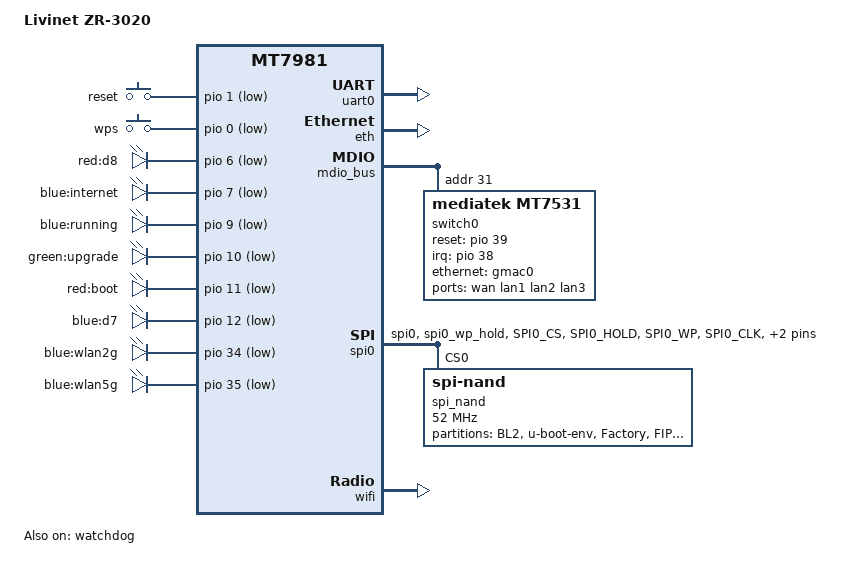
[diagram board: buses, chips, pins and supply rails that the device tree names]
// SPDX-License-Identifier: GPL-2.0-or-later OR MIT
/*
 * Copyright (C) 2023 Tianling Shen <cnsztl@immortalwrt.org>
 */

/dts-v1/;
#include "mt7981.dtsi"

/ {
	model = "Livinet ZR-3020";
	compatible = "livinet,zr-3020", "mediatek,mt7981";

	aliases {
		led-boot = &boot_led;
		led-failsafe = &boot_led;
		led-running = &running_led;
		led-upgrade = &upgrade_led;
		serial0 = &uart0;
	};

	chosen {
		stdout-path = "serial0:115200n8";
	};

	gpio-keys {
		compatible = "gpio-keys";

		button-reset {
			label = "reset";
			linux,code = <KEY_RESTART>;
			gpios = <&pio 1 GPIO_ACTIVE_LOW>;
		};

		button-wps {
			label = "wps";
			linux,code = <KEY_WPS_BUTTON>;
			gpios = <&pio 0 GPIO_ACTIVE_LOW>;
		};
	};

	gpio-leds {
		compatible = "gpio-leds";

		led-0 {
			label = "red:d8";
			gpios = <&pio 6 GPIO_ACTIVE_LOW>;
		};

		led-1 {
			label = "blue:internet";
			gpios = <&pio 7 GPIO_ACTIVE_LOW>;
		};

		running_led: led-2 {
			label = "blue:running";
			gpios = <&pio 9 GPIO_ACTIVE_LOW>;
		};

		upgrade_led: led-3 {
			label = "green:upgrade";
			gpios = <&pio 10 GPIO_ACTIVE_LOW>;
		};

		boot_led: led-4 {
			label = "red:boot";
			gpios = <&pio 11 GPIO_ACTIVE_LOW>;
		};

		led-6 {
			label = "blue:d7";
			gpios = <&pio 12 GPIO_ACTIVE_LOW>;
		};

		led-7 {
			label = "blue:wlan2g";
			gpios = <&pio 34 GPIO_ACTIVE_LOW>;
		};

		led-8 {
			label = "blue:wlan5g";
			gpios = <&pio 35 GPIO_ACTIVE_LOW>;
		};
	};
};

&uart0 {
	status = "okay";
};

&watchdog {
	status = "okay";
};

&eth {
	status = "okay";

	gmac0: mac@0 {
		compatible = "mediatek,eth-mac";
		reg = <0>;
		phy-mode = "2500base-x";

		nvmem-cells = <&macaddr_config_50707>;
		nvmem-cell-names = "mac-address-ascii";

		fixed-link {
			speed = <2500>;
			full-duplex;
			pause;
		};
	};
};

&mdio_bus {
	switch0: switch@0 {
		compatible = "mediatek,mt7531";
		reg = <31>;
		dsa,member = <0 0>;
		reset-gpios = <&pio 39 GPIO_ACTIVE_HIGH>;
		interrupt-controller;
		#interrupt-cells = <1>;
		interrupt-parent = <&pio>;
		interrupts = <38 IRQ_TYPE_LEVEL_HIGH>;
	};
};

&switch0 {
	ports {
		#address-cells = <1>;
		#size-cells = <0>;

		port@0 {
			reg = <0>;
			label = "wan";
		};

		port@2 {
			reg = <2>;
			label = "lan1";
		};

		port@3 {
			reg = <3>;
			label = "lan2";
		};

		port@4 {
			reg = <4>;
			label = "lan3";
		};

		port@6 {
			reg = <6>;
			ethernet = <&gmac0>;
			phy-mode = "2500base-x";

			fixed-link {
				speed = <2500>;
				full-duplex;
				pause;
			};
		};
	};
};

&spi0 {
	pinctrl-names = "default";
	pinctrl-0 = <&spi0_flash_pins>;
	status = "okay";

	spi_nand: flash@0 {
		#address-cells = <1>;
		#size-cells = <1>;
		compatible = "spi-nand";
		reg = <0>;

		spi-max-frequency = <52000000>;
		spi-tx-buswidth = <4>;
		spi-rx-buswidth = <4>;
		mediatek,nmbm;
		mediatek,bmt-max-ratio = <1>;
		mediatek,bmt-max-reserved-blocks = <64>;

		partitions {
			compatible = "fixed-partitions";
			#address-cells = <1>;
			#size-cells = <1>;

			partition@0 {
				label = "BL2";
				reg = <0x00000 0x100000>;
				read-only;
			};

			partition@100000 {
				label = "u-boot-env";
				reg = <0x100000 0x80000>;
			};

			factory: partition@180000 {
				label = "Factory";
				reg = <0x180000 0x200000>;
			};

			partition@380000 {
				label = "FIP";
				reg = <0x380000 0x200000>;
			};

			partition@580000 {
				label = "ubi";
				reg = <0x580000 0x4000000>;
			};

			partition@4580000 {
				label = "firmware_backup";
				reg = <0x4580000 0x2000000>;
			};

			partition@6580000 {
				label = "zrsave";
				reg = <0x6580000 0x100000>;
			};

			partition@6680000 {
				label = "config2";
				reg = <0x6680000 0x100000>;

				compatible = "nvmem-cells";
				#address-cells = <1>;
				#size-cells = <1>;

				macaddr_config_5068a: macaddr@5068a {
					reg = <0x5068a 0x11>;
				};

				macaddr_config_50707: macaddr@50707 {
					reg = <0x50707 0x11>;
				};
			};
		};
	};
};

&pio {
	i2c_pins: i2c-pins-g0 {
                mux {
                        function = "i2c";
                        groups = "i2c0_0";
                };
        };

        pcm_pins: pcm-pins-g0 {
                mux {
                        function = "pcm";
                        groups = "pcm";
                };
        };

	pwm0_pin: pwm0-pin-g0 {
		mux {
			function = "pwm";
			groups = "pwm0_0";
		};
	};

	pwm1_pin: pwm1-pin-g0 {
		mux {
			function = "pwm";
			groups = "pwm1_0";
		};
	};

	pwm2_pin: pwm2-pin {
		mux {
			function = "pwm";
			groups = "pwm2";
		};
	};

	spi0_flash_pins: spi0-pins {
		mux {
			function = "spi";
			groups = "spi0", "spi0_wp_hold";
		};

		conf-pu {
			pins = "SPI0_CS", "SPI0_HOLD", "SPI0_WP";
			drive-strength = <MTK_DRIVE_8mA>;
			bias-pull-up = <MTK_PUPD_SET_R1R0_11>;
		};

		conf-pd {
			pins = "SPI0_CLK", "SPI0_MOSI", "SPI0_MISO";
			drive-strength = <MTK_DRIVE_8mA>;
			bias-pull-down = <MTK_PUPD_SET_R1R0_11>;
		};
	};

	uart1_pins: uart1-pins-g1 {
		mux {
			function = "uart";
			groups = "uart1_1";
		};
	};

	uart2_pins: uart2-pins-g1 {
		mux {
			function = "uart";
			groups = "uart2_1";
		};
	};
};

&wifi {
	mediatek,mtd-eeprom = <&factory 0x0>;

	nvmem-cells = <&macaddr_config_5068a>;
	nvmem-cell-names = "mac-address-ascii";

	status = "okay";
};
